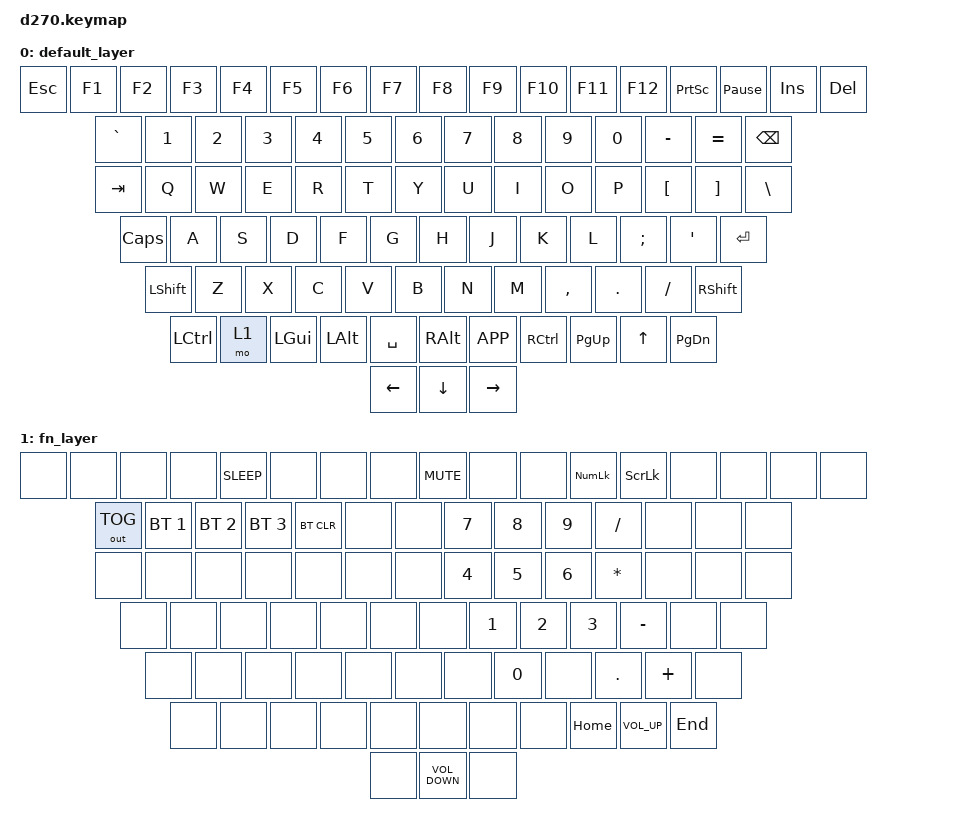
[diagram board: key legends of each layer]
// This file was generated from a template. Edit it to match your keyboard.
// See https://zmk.dev/docs/development/hardware-integration/new-shield for more instructions.

#include <behaviors.dtsi>
#include <dt-bindings/zmk/keys.h>
#include <dt-bindings/zmk/bt.h>
#include <dt-bindings/zmk/outputs.h>

/ {
    keymap {
        compatible = "zmk,keymap";

        default_layer {
            bindings = <
                // Row 0
                &kp ESC   &kp F1   &kp F2   &kp F3   &kp F4   &kp F5   &kp F6   &kp F7   &kp F8   &kp F9   &kp F10  &kp F11  &kp F12  &kp PRINTSCREEN  &kp PAUSE_BREAK   &kp INS   &kp DEL
                // Row 1
                &kp GRAVE &kp N1   &kp N2   &kp N3   &kp N4   &kp N5   &kp N6   &kp N7   &kp N8   &kp N9   &kp N0  &kp MINUS  &kp EQUAL  &kp BSPC
                // Row 2
                &kp TAB   &kp Q   &kp W   &kp E   &kp R   &kp T   &kp Y   &kp U   &kp I   &kp O   &kp P  &kp LBKT  &kp RBKT  &kp BSLH
                // Row 3
                &kp CAPS  &kp A   &kp S   &kp D   &kp F   &kp G   &kp H   &kp J   &kp K   &kp L   &kp SEMI  &kp SQT  &kp RET
                // Row 4
                &kp LSHFT &kp Z   &kp X   &kp C   &kp V   &kp B   &kp N   &kp M   &kp COMMA   &kp DOT   &kp FSLH  &kp RSHFT
                // Row 5
                &kp LCTRL &mo 1   &kp LGUI   &kp LALT   &kp SPACE   &kp RALT   &kp K_APP   &kp RCTRL   &kp PG_UP   &kp UP   &kp PG_DN
                // Row 6
                &kp LEFT &kp DOWN   &kp RIGHT
            >;
        };

        fn_layer {
            bindings = <
                // Row 0
                &none   &none   &none   &none   &kp K_SLEEP   &none   &none   &none   &kp K_MUTE   &none   &none   &kp KP_NLCK   &kp SLCK   &none   &none   &none   &none
                // Row 1
                &out OUT_TOG   &bt BT_SEL 1   &bt BT_SEL 2   &bt BT_SEL 3   &bt BT_CLR  &none   &none   &kp N7   &kp N8   &kp N9   &kp FSLH   &none   &none   &none
                // Row 2
                &none   &none   &none   &none   &none   &none   &none   &kp N4   &kp N5   &kp N6   &kp STAR   &none   &none   &none
                // Row 3
                &none   &none   &none   &none   &none   &none   &none   &kp N1   &kp N2   &kp N3   &kp MINUS   &none   &none
                // Row 4
                &none   &none   &none   &none   &none   &none   &none   &kp N0   &none   &kp DOT   &kp PLUS   &none
                // Row 5
                &none   &none   &none   &none   &none   &none   &none   &none   &kp HOME   &kp K_VOLUME_UP   &kp END
                // Row 6
                &none     &kp K_VOLUME_DOWN      &none
            >;
        };
    };
};
